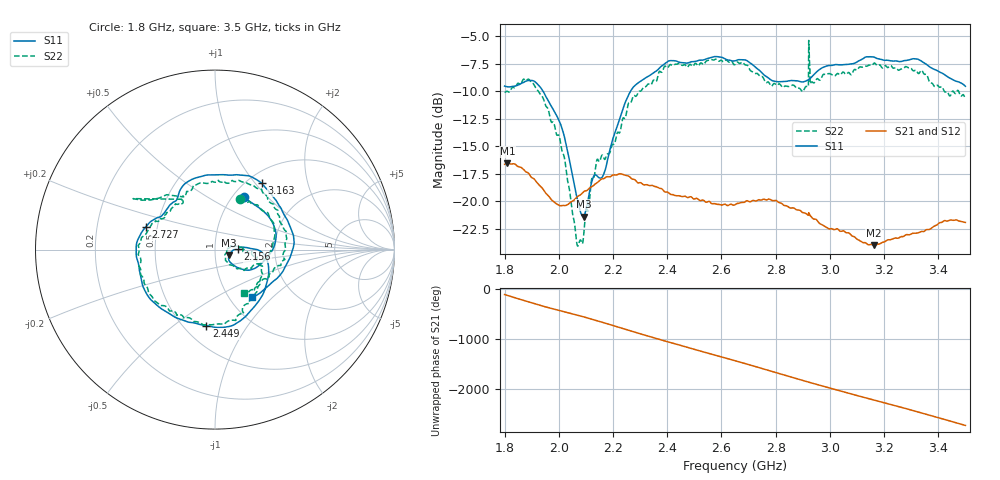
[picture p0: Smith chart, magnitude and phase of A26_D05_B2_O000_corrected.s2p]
! Created with skrf 1.9.0 (http://scikit-rf.org).
# Hz S RI R 50.0
!freq ReS11 ImS11 ReS21 ImS21 ReS12 ImS12 ReS22 ImS22
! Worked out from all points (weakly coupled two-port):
!   1601 points, 1.8 GHz to 3.5 GHz, reference 50 ohm
!   highest |S21| = -16.57 dB at 1.811 GHz (marker M1); lowest = -24.0 dB at 3.161 GHz (marker M2)
!   lowest |S11| = -21.4 dB at 2.091 GHz (marker M3), VSWR 1.19, Z = 58.6 - j3.48 ohm
!   |S11| at or under -10 dB: 1.942 GHz to 2.265 GHz (322.9 MHz wide, 15.4 % of centre)
!   |S22| runs from -24.1 to -5.4 dB; largest |S21 - S12| = 0.0027
!   S11 on the Smith chart (normalised r, x): 1.8 GHz: 1.13, +0.74; 2.156 GHz: 1.29, +0.01; 2.449 GHz: 0.64, -0.66; 2.727 GHz: 0.43, +0.13; 3.163 GHz: 1.17, +1.08; 3.5 GHz: 1.27, -0.75
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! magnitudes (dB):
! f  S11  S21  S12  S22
! 1.8 GHz  -9.5  -16.7  -16.7  -10.1
! 1.811 GHz  -9.6  -16.6  -16.6  -10.0
! 1.887 GHz  -9.0  -17.4  -17.5  -8.9
! 1.94 GHz  -9.9  -18.9  -18.9  -10.5
! 2.011 GHz  -13.4  -20.4  -20.4  -15.4
! 2.065 GHz  -19.4  -19.7  -19.7  -23.5
! 2.084 GHz  -21.2  -19.3  -19.3  -23.7
! 2.091 GHz  -21.4  -19.2  -19.2  -23.3
! 2.127 GHz  -17.8  -18.6  -18.6  -17.9
! 2.156 GHz  -17.9  -18.0  -18.0  -16.0
! 2.261 GHz  -10.2  -17.8  -17.8  -11.1
! 2.367 GHz  -8.0  -18.8  -18.7  -8.4
! 2.449 GHz  -7.4  -19.6  -19.6  -7.5
! 2.65 GHz  -7.2  -20.3  -20.3  -7.6
! 2.727 GHz  -7.8  -20.0  -20.0  -8.4
! 2.897 GHz  -9.2  -21.0  -21.0  -10.0
! 2.934 GHz  -8.7  -21.5  -21.5  -9.2
! 3.161 GHz  -6.9  -24.0  -24.0  -7.5
! 3.163 GHz  -6.9  -24.0  -24.0  -7.5
! 3.217 GHz  -7.2  -23.5  -23.5  -7.8
! 3.326 GHz  -7.1  -22.9  -22.9  -8.4
! 3.5 GHz  -9.6  -21.9  -21.9  -10.7
